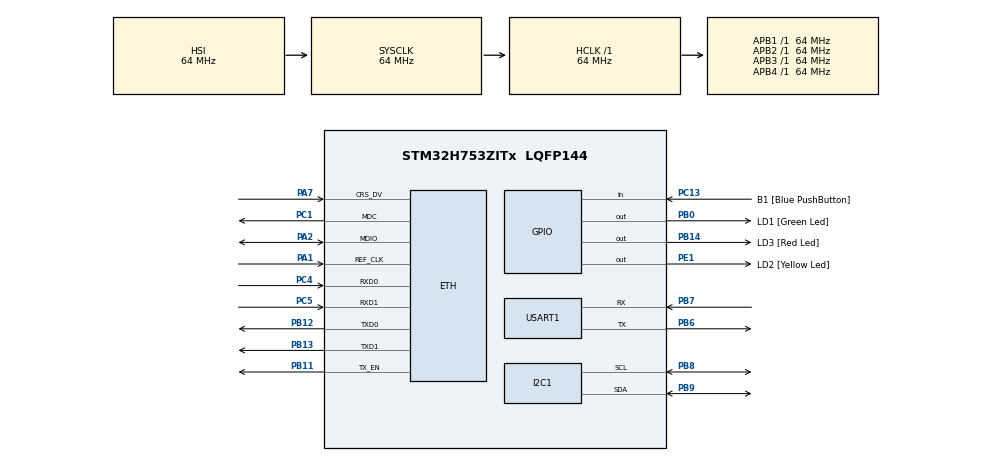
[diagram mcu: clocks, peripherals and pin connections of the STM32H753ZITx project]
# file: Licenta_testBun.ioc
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CORTEX_M7.CPU_DCache=Disabled
CORTEX_M7.CPU_ICache=Disabled
CORTEX_M7.MPU_Control=__NULL
CORTEX_M7.default_mode_Activation=1
ETH.MediaInterface=HAL_ETH_RMII_MODE
LWIP.BSP.number=1
LWIP.LWIP_DNS=1
LWIP.LWIP_HTTPD=0
LWIP.Version=v2.1.2_Cube
LWIP0.BSP.STBoard=false
LWIP0.BSP.api=BSP_COMPONENT_DRIVER
LWIP0.BSP.component=LAN8742
LWIP0.BSP.instance=LAN8742
LWIP0.BSP.name=Driver_PHY
LWIP0.BSP.semaphore=S_LAN8742
LWIP0.BSP.solution=LAN8742
Mcu.Family=STM32H7
Mcu.Name=STM32H753ZITx
Mcu.Package=LQFP144
NVIC.ETH_IRQn=true\:0\:0\:false\:false\:true\:true\:true\:true
NVIC.ETH_WKUP_IRQn=true\:0\:0\:false\:false\:true\:true\:true\:true
NVIC.I2C1_ER_IRQn=true\:0\:0\:false\:false\:true\:true\:true\:true
NVIC.I2C1_EV_IRQn=true\:0\:0\:false\:false\:true\:true\:true\:true
NVIC.PriorityGroup=NVIC_PRIORITYGROUP_4
NVIC.USART1_IRQn=true\:0\:0\:false\:false\:true\:true\:true\:true
PA1.Mode=RMII
PA1.Signal=ETH_REF_CLK
PA2.Mode=RMII
PA2.Signal=ETH_MDIO
PA7.Mode=RMII
PA7.Signal=ETH_CRS_DV
PB0.GPIO_Label=LD1 [Green Led]
PB0.Signal=GPIO_Output
PB11.Mode=RMII
PB11.Signal=ETH_TX_EN
PB12.Mode=RMII
PB12.Signal=ETH_TXD0
PB13.Mode=RMII
PB13.Signal=ETH_TXD1
PB14.GPIO_Label=LD3 [Red Led]
PB14.Signal=GPIO_Output
PB6.Mode=Asynchronous
PB6.Signal=USART1_TX
PB7.Mode=Asynchronous
PB7.Signal=USART1_RX
PB8.Mode=I2C
PB8.Signal=I2C1_SCL
PB9.Mode=I2C
PB9.Signal=I2C1_SDA
PC1.Mode=RMII
PC1.Signal=ETH_MDC
PC13.GPIO_Label=B1 [Blue PushButton]
PC13.Signal=GPIO_Input
PC14-OSC32_IN\ (OSC32_IN).Signal=RCC_OSC32_IN
PC15-OSC32_OUT\ (OSC32_OUT).Signal=RCC_OSC32_OUT
PC4.Mode=RMII
PC4.Signal=ETH_RXD0
PC5.Mode=RMII
PC5.Signal=ETH_RXD1
PD8.GPIO_Label=STLINK_RX
PD8.Signal=USART3_TX
PD9.GPIO_Label=STLINK_TX
PD9.Signal=USART3_RX
PE1.GPIO_Label=LD2 [Yellow Led]
PE1.Signal=GPIO_Output
PH0-OSC_IN\ (PH0).Signal=RCC_OSC_IN
PH1-OSC_OUT\ (PH1).Signal=RCC_OSC_OUT
ProjectManager.HeapSize=0x200
ProjectManager.StackSize=0x400
ProjectManager.TargetToolchain=STM32CubeIDE
RCC.ADCFreq_Value=129000000
RCC.APB1Freq_Value=64000000
RCC.APB2Freq_Value=64000000
RCC.APB3Freq_Value=64000000
RCC.APB4Freq_Value=64000000
RCC.CortexFreq_Value=64000000
RCC.DIVM1=1
RCC.DIVN1=24
RCC.DIVQ1=4
RCC.HCLKFreq_Value=64000000
RCC.HSE_VALUE=8000000
RCC.PLLFRACN=0
RCC.PWR_Regulator_Voltage_Scale=PWR_REGULATOR_VOLTAGE_SCALE2
RCC.SYSCLKFreq_VALUE=64000000
RCC.USBFreq_Value=384000000
USART1.VirtualMode-Asynchronous=VM_ASYNC
VP_LWIP_VS_Enabled.Mode=Enabled
VP_MEMORYMAP_VS_MEMORYMAP.Mode=CurAppReg
board=NUCLEO-H753ZI

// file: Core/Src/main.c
/* USER CODE BEGIN Header */
/**
  ******************************************************************************
  * @file           : main.c
  * @brief          : Main program body
  ******************************************************************************
  * @attention
  *
  * Copyright (c) 2024 STMicroelectronics.
  * All rights reserved.
  *
  * This software is licensed under terms that can be found in the LICENSE file
  * in the root directory of this software component.
  * If no LICENSE file comes with this software, it is provided AS-IS.
  *
  ******************************************************************************
  */
/* USER CODE END Header */
#include "main.h"
#include "lwip.h"

/* USER CODE BEGIN Includes */
#include "mongoose.h"
#include <stdio.h>
#include <string.h>
#include "bmp180.h"
#include "mqtt_functions.h"
/* USER CODE END Includes */

I2C_HandleTypeDef hi2c1;

UART_HandleTypeDef huart1;

/* USER CODE BEGIN PV */
Bmp180CalibrationData calibrationData;
cbuff_t temperature_buffer;

/* USER CODE END PV */

void SystemClock_Config(void);
static void MX_GPIO_Init(void);
static void MX_I2C1_Init(void);
static void MX_USART1_UART_Init(void);

int main(void)
{

  /* MCU Configuration--------------------------------------------------------*/

  /* Reset of all peripherals, Initializes the Flash interface and the Systick. */
  HAL_Init();

  /* Configure the system clock */
  SystemClock_Config();

  /* Initialize all configured peripherals */
  MX_GPIO_Init();
  MX_I2C1_Init();
  MX_USART1_UART_Init();
  MX_LWIP_Init();
  /* USER CODE BEGIN 2 */
  BMP180_ReadCalibrationData(&calibrationData);
  SendCalibrationData(&calibrationData);  // Send calibration data over UART
  cbuff_new(&temperature_buffer, MAX_NO_TEMP);

  print_ip_address();  // Afișează adresa IP obținută
  mqtt_init();         // Inițializează managerul MQTT
  /* USER CODE END 2 */

  /* Infinite loop */
  while (1)
  {

    /* USER CODE BEGIN 3 */
	  // Step 1: Start temperature measurement and calculate temperature
	  	     /* BMP180_WriteReg(0xF4, 0x2E);
	  	      HAL_Delay(5);  // Wait for temperature conversion (4.5ms typical)

	  	      // Read and calculate temperature
	  	      int16_t raw_temperature = BMP180_ReadTemperature();
	  	      int32_t x1 = ((raw_temperature - calibrationData.ac6) * calibrationData.ac5) >> 15;
	  	      int32_t x2 = (calibrationData.mc << 11) / (x1 + calibrationData.md);
	  	      int32_t b5 = x1 + x2;
	  	      float temperature = (float)((b5 + 8) >> 4) / 10.0;  // Temperature in °C

	  	      // Step 2: Start pressure measurement with OSS=1 (standard resolution)
	  	      uint8_t oss = 1;  // Set oversampling setting (0 to 3)
	  	      int32_t uncompensatedPressure = BMP180_ReadUncompensatedPressure(oss);
	  	      int32_t pressure = BMP180_CalculatePressure(uncompensatedPressure, b5, oss, &calibrationData);
	  	      mqtt_publish_message(temperature);

	  	      // Step 3: Transmit temperature and pressure data via UART
	  	      mqtt_poll(1000);
	  	      char uartBuffer[100];
	  	      int tempInt = (int)temperature;
	  	      int tempFrac = (int)((temperature - tempInt) * 10);  // Single decimal precision
	  	      snprintf(uartBuffer, sizeof(uartBuffer), "Temperature: %d.%d C\r\n", tempInt, tempFrac);
	  	      HAL_UART_Transmit(&huart1, (uint8_t *)uartBuffer, strlen(uartBuffer), HAL_MAX_DELAY);

	  	      snprintf(uartBuffer, sizeof(uartBuffer), "Pressure: %ld Pa\r\n", pressure);
	  	      HAL_UART_Transmit(&huart1, (uint8_t *)uartBuffer, strlen(uartBuffer), HAL_MAX_DELAY);
	  	    // Delay before next measurement
	  	   	  HAL_Delay(1000);*/

	      float temperature = 25.0; // Valoare simulată pentru test
	      mqtt_publish_message(temperature);  // Publică mesajul
	      mqtt_poll(1000);                    // Procesează evenimentele MQTT
	      HAL_Delay(5000);                    // Publică la fiecare 5 secunde
  }
  /* USER CODE END 3 */
}

void SystemClock_Config(void)
{
  RCC_OscInitTypeDef RCC_OscInitStruct = {0};
  RCC_ClkInitTypeDef RCC_ClkInitStruct = {0};

  /** Supply configuration update enable
  */
  HAL_PWREx_ConfigSupply(PWR_LDO_SUPPLY);

  /** Configure the main internal regulator output voltage
  */
  __HAL_PWR_VOLTAGESCALING_CONFIG(PWR_REGULATOR_VOLTAGE_SCALE2);

  while(!__HAL_PWR_GET_FLAG(PWR_FLAG_VOSRDY)) {}

  /** Initializes the RCC Oscillators according to the specified parameters
  * in the RCC_OscInitTypeDef structure.
  */
  RCC_OscInitStruct.OscillatorType = RCC_OSCILLATORTYPE_HSI;
  RCC_OscInitStruct.HSIState = RCC_HSI_DIV1;
  RCC_OscInitStruct.HSICalibrationValue = RCC_HSICALIBRATION_DEFAULT;
  RCC_OscInitStruct.PLL.PLLState = RCC_PLL_NONE;
  if (HAL_RCC_OscConfig(&RCC_OscInitStruct) != HAL_OK)
  {
    Error_Handler();
  }

  /** Initializes the CPU, AHB and APB buses clocks
  */
  RCC_ClkInitStruct.ClockType = RCC_CLOCKTYPE_HCLK|RCC_CLOCKTYPE_SYSCLK
                              |RCC_CLOCKTYPE_PCLK1|RCC_CLOCKTYPE_PCLK2
                              |RCC_CLOCKTYPE_D3PCLK1|RCC_CLOCKTYPE_D1PCLK1;
  RCC_ClkInitStruct.SYSCLKSource = RCC_SYSCLKSOURCE_HSI;
  RCC_ClkInitStruct.SYSCLKDivider = RCC_SYSCLK_DIV1;
  RCC_ClkInitStruct.AHBCLKDivider = RCC_HCLK_DIV1;
  RCC_ClkInitStruct.APB3CLKDivider = RCC_APB3_DIV1;
  RCC_ClkInitStruct.APB1CLKDivider = RCC_APB1_DIV1;
  RCC_ClkInitStruct.APB2CLKDivider = RCC_APB2_DIV1;
  RCC_ClkInitStruct.APB4CLKDivider = RCC_APB4_DIV1;

  if (HAL_RCC_ClockConfig(&RCC_ClkInitStruct, FLASH_LATENCY_1) != HAL_OK)
  {
    Error_Handler();
  }
}

static void MX_I2C1_Init(void)
{

  hi2c1.Instance = I2C1;
  hi2c1.Init.Timing = 0x10707DBC;
  hi2c1.Init.OwnAddress1 = 0;
  hi2c1.Init.AddressingMode = I2C_ADDRESSINGMODE_7BIT;
  hi2c1.Init.DualAddressMode = I2C_DUALADDRESS_DISABLE;
  hi2c1.Init.OwnAddress2 = 0;
  hi2c1.Init.OwnAddress2Masks = I2C_OA2_NOMASK;
  hi2c1.Init.GeneralCallMode = I2C_GENERALCALL_DISABLE;
  hi2c1.Init.NoStretchMode = I2C_NOSTRETCH_DISABLE;
  if (HAL_I2C_Init(&hi2c1) != HAL_OK)
  {
    Error_Handler();
  }

  /** Configure Analogue filter
  */
  if (HAL_I2CEx_ConfigAnalogFilter(&hi2c1, I2C_ANALOGFILTER_ENABLE) != HAL_OK)
  {
    Error_Handler();
  }

  /** Configure Digital filter
  */
  if (HAL_I2CEx_ConfigDigitalFilter(&hi2c1, 0) != HAL_OK)
  {
    Error_Handler();
  }

}

static void MX_USART1_UART_Init(void)
{

  huart1.Instance = USART1;
  huart1.Init.BaudRate = 115200;
  huart1.Init.WordLength = UART_WORDLENGTH_8B;
  huart1.Init.StopBits = UART_STOPBITS_1;
  huart1.Init.Parity = UART_PARITY_NONE;
  huart1.Init.Mode = UART_MODE_TX_RX;
  huart1.Init.HwFlowCtl = UART_HWCONTROL_NONE;
  huart1.Init.OverSampling = UART_OVERSAMPLING_16;
  huart1.Init.OneBitSampling = UART_ONE_BIT_SAMPLE_DISABLE;
  huart1.Init.ClockPrescaler = UART_PRESCALER_DIV1;
  huart1.AdvancedInit.AdvFeatureInit = UART_ADVFEATURE_NO_INIT;
  if (HAL_UART_Init(&huart1) != HAL_OK)
  {
    Error_Handler();
  }
  if (HAL_UARTEx_SetTxFifoThreshold(&huart1, UART_TXFIFO_THRESHOLD_1_8) != HAL_OK)
  {
    Error_Handler();
  }
  if (HAL_UARTEx_SetRxFifoThreshold(&huart1, UART_RXFIFO_THRESHOLD_1_8) != HAL_OK)
  {
    Error_Handler();
  }
  if (HAL_UARTEx_DisableFifoMode(&huart1) != HAL_OK)
  {
    Error_Handler();
  }

}

static void MX_GPIO_Init(void)
{
  GPIO_InitTypeDef GPIO_InitStruct = {0};

  /* GPIO Ports Clock Enable */
  __HAL_RCC_GPIOC_CLK_ENABLE();
  __HAL_RCC_GPIOH_CLK_ENABLE();
  __HAL_RCC_GPIOA_CLK_ENABLE();
  __HAL_RCC_GPIOB_CLK_ENABLE();
  __HAL_RCC_GPIOD_CLK_ENABLE();
  __HAL_RCC_GPIOE_CLK_ENABLE();

  /*Configure GPIO pin Output Level */
  HAL_GPIO_WritePin(GPIOB, LD1_Pin|LD3_Pin, GPIO_PIN_RESET);

  /*Configure GPIO pin Output Level */
  HAL_GPIO_WritePin(LD2_GPIO_Port, LD2_Pin, GPIO_PIN_RESET);

  /*Configure GPIO pin : B1_Pin */
  GPIO_InitStruct.Pin = B1_Pin;
  GPIO_InitStruct.Mode = GPIO_MODE_INPUT;
  GPIO_InitStruct.Pull = GPIO_NOPULL;
  HAL_GPIO_Init(B1_GPIO_Port, &GPIO_InitStruct);

  /*Configure GPIO pins : LD1_Pin LD3_Pin */
  GPIO_InitStruct.Pin = LD1_Pin|LD3_Pin;
  GPIO_InitStruct.Mode = GPIO_MODE_OUTPUT_PP;
  GPIO_InitStruct.Pull = GPIO_NOPULL;
  GPIO_InitStruct.Speed = GPIO_SPEED_FREQ_LOW;
  HAL_GPIO_Init(GPIOB, &GPIO_InitStruct);

  /*Configure GPIO pins : STLINK_RX_Pin STLINK_TX_Pin */
  GPIO_InitStruct.Pin = STLINK_RX_Pin|STLINK_TX_Pin;
  GPIO_InitStruct.Mode = GPIO_MODE_AF_PP;
  GPIO_InitStruct.Pull = GPIO_NOPULL;
  GPIO_InitStruct.Speed = GPIO_SPEED_FREQ_LOW;
  GPIO_InitStruct.Alternate = GPIO_AF7_USART3;
  HAL_GPIO_Init(GPIOD, &GPIO_InitStruct);

  /*Configure GPIO pin : LD2_Pin */
  GPIO_InitStruct.Pin = LD2_Pin;
  GPIO_InitStruct.Mode = GPIO_MODE_OUTPUT_PP;
  GPIO_InitStruct.Pull = GPIO_NOPULL;
  GPIO_InitStruct.Speed = GPIO_SPEED_FREQ_LOW;
  HAL_GPIO_Init(LD2_GPIO_Port, &GPIO_InitStruct);

}

void Error_Handler(void)
{
  __disable_irq();
  while (1)
  {
  }
}
